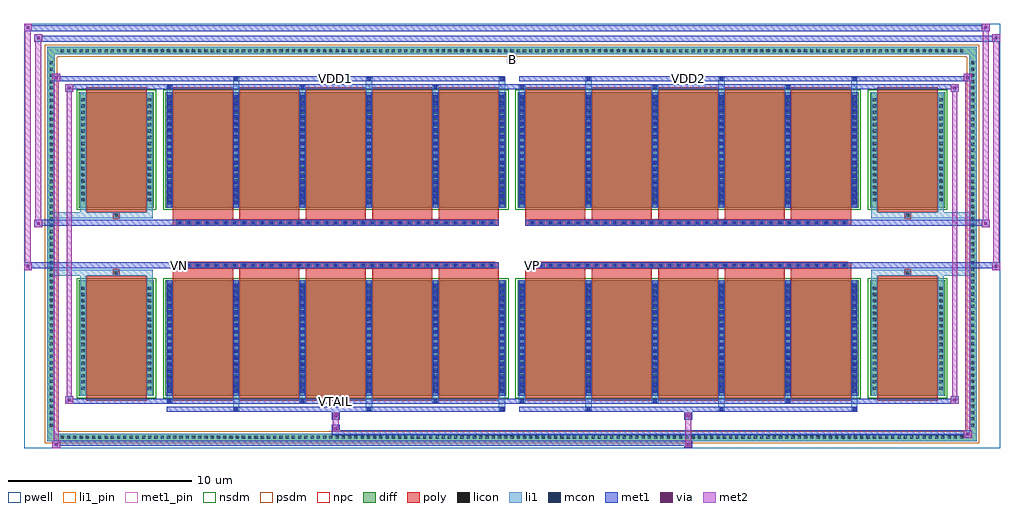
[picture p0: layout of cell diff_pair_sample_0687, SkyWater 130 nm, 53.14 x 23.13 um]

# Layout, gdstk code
import gdstk
lib = gdstk.Library(unit=1e-6, precision=5e-09)
def R(c, l, rs):  # rectangles x0, y0, x1, y1
    for r in rs: c.add(gdstk.rectangle(r[:2], r[2:], *l))
def A(c, l, x, y, w, h, nx, ny, dx, dy):  # array of equal rectangles
    R(c, l, [(x+i*dx, y+j*dy, x+i*dx+w, y+j*dy+h) for i in range(nx) for j in range(ny)])
def P(c, l, *ps):  # polygons
    for p in ps: c.add(gdstk.Polygon(p, *l))
pwell = (64, 44)
diff = (65, 20)
poly = (66, 20)
licon = (66, 44)
li1_pin = (67, 16)
li1 = (67, 20)
mcon = (67, 44)
met1_pin = (68, 16)
met1 = (68, 20)
via = (68, 44)
met2 = (69, 20)
nsdm = (93, 44)
psdm = (94, 20)
npc = (95, 20)

diff_pair_sample_0687 = lib.new_cell('diff_pair_sample_0687')
R(diff_pair_sample_0687, pwell, [(-26.57,-11.13,26.57,12), (-23.89,-9.32,-0.01,-0.8), (0.01,-9.32,23.89,-0.8), (-23.89,0.8,-0.01,9.32), (0.01,0.8,23.89,9.32)])
A(diff_pair_sample_0687, diff, -24.685, -10.73, 0.41, 0.41, 145, 2, 0.34, 21.05)
A(diff_pair_sample_0687, diff, -25.3, -10.065, 0.41, 0.41, 1, 59, 0, 0.34)
A(diff_pair_sample_0687, diff, 24.89, -10.065, 0.41, 0.41, 1, 59, 0, 0.34)
R(diff_pair_sample_0687, diff, [(-24.685,-10.73,24.685,-10.32), (-25.3,-10.065,-24.89,10.065), (24.89,-10.065,25.3,10.065), (-23.58,-8.275,-19.51,-1.985), (-18.87,-8.275,-0.32,-1.985), (0.32,-8.275,18.87,-1.985), (19.51,-8.275,23.58,-1.985), (-23.58,1.985,-19.51,8.275), (-18.87,1.985,-0.32,8.275), (0.32,1.985,18.87,8.275), (19.51,1.985,23.58,8.275), (-24.685,10.32,24.685,10.73)])
P(diff_pair_sample_0687, diff, [(25.3,10.73),(-25.3,10.73),(-25.3,-10.32),(-24.89,-10.32),(-24.89,10.32),(24.89,10.32),(24.89,-10.32),(-24.89,-10.32),(-25.3,-10.32),(-25.3,-10.73),(25.3,-10.73)])
A(diff_pair_sample_0687, poly, -18.48, -8.525, 3.29, 6.79, 5, 2, 3.62, 10.26)
A(diff_pair_sample_0687, poly, 0.71, -8.525, 3.29, 6.79, 5, 2, 3.62, 10.26)
A(diff_pair_sample_0687, poly, -18.48, -1.735, 3.29, 0.405, 5, 2, 3.62, 3.065)
A(diff_pair_sample_0687, poly, 0.71, -1.735, 3.29, 0.405, 5, 2, 3.62, 3.065)
A(diff_pair_sample_0687, poly, -18.26, -1.33, 0.33, 0.33, 35, 2, 0.5, 2.33)
A(diff_pair_sample_0687, poly, 0.93, -1.33, 0.33, 0.33, 35, 2, 0.5, 2.33)
R(diff_pair_sample_0687, poly, [(-23.19,-8.525,-19.9,-1.735), (19.9,-8.525,23.19,-1.735), (-21.71,-1.735,-21.38,-1.405), (-21.71,-1.735,-21.38,-1.405), (21.38,-1.735,21.71,-1.405), (21.38,-1.735,21.71,-1.405), (-18.48,-1.33,-0.71,-1), (0.71,-1.33,18.48,-1), (-18.48,1,-0.71,1.33), (0.71,1,18.48,1.33), (-21.71,1.405,-21.38,1.735), (-21.71,1.405,-21.38,1.735), (21.38,1.405,21.71,1.735), (21.38,1.405,21.71,1.735), (-23.19,1.735,-19.9,8.525), (19.9,1.735,23.19,8.525)])
A(diff_pair_sample_0687, licon, -24.565, -10.61, 0.17, 0.17, 145, 2, 0.34, 21.05)
A(diff_pair_sample_0687, licon, -25.18, -9.945, 0.17, 0.17, 1, 59, 0, 0.34)
A(diff_pair_sample_0687, licon, 25.01, -9.945, 0.17, 0.17, 1, 59, 0, 0.34)
A(diff_pair_sample_0687, licon, -23.44, -7.935, 0.17, 0.17, 1, 17, 0, 0.34)
A(diff_pair_sample_0687, licon, -19.82, -7.935, 0.17, 0.17, 1, 17, 0, 0.34)
A(diff_pair_sample_0687, licon, -18.73, -7.935, 0.17, 0.17, 6, 17, 3.62, 0.34)
A(diff_pair_sample_0687, licon, 0.46, -7.935, 0.17, 0.17, 6, 17, 3.62, 0.34)
A(diff_pair_sample_0687, licon, 19.65, -7.935, 0.17, 0.17, 1, 17, 0, 0.34)
A(diff_pair_sample_0687, licon, 23.27, -7.935, 0.17, 0.17, 1, 17, 0, 0.34)
A(diff_pair_sample_0687, licon, -18.18, -1.25, 0.17, 0.17, 35, 2, 0.5, 2.33)
A(diff_pair_sample_0687, licon, 1.01, -1.25, 0.17, 0.17, 35, 2, 0.5, 2.33)
A(diff_pair_sample_0687, licon, -23.44, 2.325, 0.17, 0.17, 1, 17, 0, 0.34)
A(diff_pair_sample_0687, licon, -19.82, 2.325, 0.17, 0.17, 1, 17, 0, 0.34)
A(diff_pair_sample_0687, licon, -18.73, 2.325, 0.17, 0.17, 6, 17, 3.62, 0.34)
A(diff_pair_sample_0687, licon, 0.46, 2.325, 0.17, 0.17, 6, 17, 3.62, 0.34)
A(diff_pair_sample_0687, licon, 19.65, 2.325, 0.17, 0.17, 1, 17, 0, 0.34)
A(diff_pair_sample_0687, licon, 23.27, 2.325, 0.17, 0.17, 1, 17, 0, 0.34)
R(diff_pair_sample_0687, licon, [(-21.63,-1.655,-21.46,-1.485), (21.46,-1.655,21.63,-1.485), (-21.63,1.485,-21.46,1.655), (21.46,1.485,21.63,1.655)])
R(diff_pair_sample_0687, li1_pin, [(-0.25,9.82,0.25,10.32)])
A(diff_pair_sample_0687, li1, -24.645, -10.69, 0.33, 0.33, 145, 2, 0.34, 21.05)
A(diff_pair_sample_0687, li1, -25.26, -10.025, 0.33, 0.33, 1, 59, 0, 0.34)
A(diff_pair_sample_0687, li1, 24.93, -10.025, 0.33, 0.33, 1, 59, 0, 0.34)
A(diff_pair_sample_0687, li1, -15.19, -9.08, 0.33, 0.805, 3, 2, 7.24, 17.355)
A(diff_pair_sample_0687, li1, -15.11, -9.08, 0.17, 0.17, 3, 2, 7.24, 17.99)
A(diff_pair_sample_0687, li1, 4, -9.08, 0.33, 0.805, 3, 2, 7.24, 17.355)
A(diff_pair_sample_0687, li1, 4.08, -9.08, 0.17, 0.17, 3, 2, 7.24, 17.99)
A(diff_pair_sample_0687, li1, -18.81, -8.65, 0.33, 0.375, 3, 2, 7.24, 16.925)
A(diff_pair_sample_0687, li1, -18.73, -8.65, 0.17, 0.17, 3, 2, 7.24, 17.13)
A(diff_pair_sample_0687, li1, 0.38, -8.65, 0.33, 0.375, 3, 2, 7.24, 16.925)
A(diff_pair_sample_0687, li1, 0.46, -8.65, 0.17, 0.17, 3, 2, 7.24, 17.13)
A(diff_pair_sample_0687, li1, -18.81, -8.275, 0.33, 6.29, 6, 2, 3.62, 10.26)
A(diff_pair_sample_0687, li1, 0.38, -8.275, 0.33, 6.29, 6, 2, 3.62, 10.26)
A(diff_pair_sample_0687, li1, -18.73, -8.095, 0.17, 0.17, 6, 17, 3.62, 0.36)
A(diff_pair_sample_0687, li1, -18.73, -8.095, 0.17, 5.93, 6, 2, 3.62, 10.26)
A(diff_pair_sample_0687, li1, 0.46, -8.095, 0.17, 0.17, 6, 17, 3.62, 0.36)
A(diff_pair_sample_0687, li1, 0.46, -8.095, 0.17, 5.93, 6, 2, 3.62, 10.26)
A(diff_pair_sample_0687, li1, -23.52, -8.015, 0.33, 0.33, 1, 17, 0, 0.34)
A(diff_pair_sample_0687, li1, -19.9, -8.015, 0.33, 0.33, 1, 17, 0, 0.34)
A(diff_pair_sample_0687, li1, -18.81, -8.015, 0.33, 0.33, 6, 17, 3.62, 0.34)
A(diff_pair_sample_0687, li1, 0.38, -8.015, 0.33, 0.33, 6, 17, 3.62, 0.34)
A(diff_pair_sample_0687, li1, 19.57, -8.015, 0.33, 0.33, 1, 17, 0, 0.34)
A(diff_pair_sample_0687, li1, 23.19, -8.015, 0.33, 0.33, 1, 17, 0, 0.34)
A(diff_pair_sample_0687, li1, -18.26, -1.33, 0.33, 0.33, 35, 2, 0.5, 2.33)
A(diff_pair_sample_0687, li1, 0.93, -1.33, 0.33, 0.33, 35, 2, 0.5, 2.33)
A(diff_pair_sample_0687, li1, -18.73, 2.165, 0.17, 0.17, 6, 17, 3.62, 0.36)
A(diff_pair_sample_0687, li1, 0.46, 2.165, 0.17, 0.17, 6, 17, 3.62, 0.36)
A(diff_pair_sample_0687, li1, -23.52, 2.245, 0.33, 0.33, 1, 17, 0, 0.34)
A(diff_pair_sample_0687, li1, -19.9, 2.245, 0.33, 0.33, 1, 17, 0, 0.34)
A(diff_pair_sample_0687, li1, -18.81, 2.245, 0.33, 0.33, 6, 17, 3.62, 0.34)
A(diff_pair_sample_0687, li1, 0.38, 2.245, 0.33, 0.33, 6, 17, 3.62, 0.34)
A(diff_pair_sample_0687, li1, 19.57, 2.245, 0.33, 0.33, 1, 17, 0, 0.34)
A(diff_pair_sample_0687, li1, 23.19, 2.245, 0.33, 0.33, 1, 17, 0, 0.34)
R(diff_pair_sample_0687, li1, [(-25.3,-10.73,-24.89,-10.32), (-25.3,-10.73,-24.89,-10.32), (-24.89,-10.73,24.89,-10.32), (24.89,-10.73,25.3,-10.32), (24.89,-10.73,25.3,-10.32), (-25.3,-10.32,-24.89,10.32), (24.89,-10.32,25.3,10.32), (-23.52,-8.275,-23.19,-1.985), (-19.9,-8.275,-19.57,-1.985), (19.57,-8.275,19.9,-1.985), (23.19,-8.275,23.52,-1.985), (-23.52,-1.985,-23.19,-1.405), (-19.9,-1.985,-19.57,-1.405), (19.57,-1.985,19.9,-1.405), (23.19,-1.985,23.52,-1.405), (-25.3,-1.735,-21.71,-1.405), (-23.52,-1.735,-21.71,-1.405), (-21.71,-1.735,-21.38,-1.405), (-21.38,-1.735,-19.57,-1.405), (19.57,-1.735,21.38,-1.405), (21.38,-1.735,21.71,-1.405), (21.38,-1.735,25.3,-1.405), (21.71,-1.735,23.52,-1.405), (-25.3,1.405,-21.71,1.735), (-23.52,1.405,-21.71,1.735), (-23.52,1.405,-23.19,1.985), (-21.71,1.405,-21.38,1.735), (-21.38,1.405,-19.57,1.735), (-19.9,1.405,-19.57,1.985), (19.57,1.405,21.38,1.735), (19.57,1.405,19.9,1.985), (21.38,1.405,21.71,1.735), (21.38,1.405,25.3,1.735), (21.71,1.405,23.52,1.735), (23.19,1.405,23.52,1.985), (-23.52,1.985,-23.19,8.275), (-19.9,1.985,-19.57,8.275), (19.57,1.985,19.9,8.275), (23.19,1.985,23.52,8.275), (-25.3,10.32,-24.89,10.73), (-25.3,10.32,-24.89,10.73), (-24.89,10.32,24.89,10.73), (24.89,10.32,25.3,10.73), (24.89,10.32,25.3,10.73)])
A(diff_pair_sample_0687, mcon, -15.11, -9.08, 0.17, 0.17, 3, 2, 7.24, 17.99)
A(diff_pair_sample_0687, mcon, 4.08, -9.08, 0.17, 0.17, 3, 2, 7.24, 17.99)
A(diff_pair_sample_0687, mcon, -18.73, -8.65, 0.17, 0.17, 3, 2, 7.24, 17.13)
A(diff_pair_sample_0687, mcon, 0.46, -8.65, 0.17, 0.17, 3, 2, 7.24, 17.13)
A(diff_pair_sample_0687, mcon, -18.73, -8.095, 0.17, 0.17, 6, 17, 3.62, 0.36)
A(diff_pair_sample_0687, mcon, 0.46, -8.095, 0.17, 0.17, 6, 17, 3.62, 0.36)
A(diff_pair_sample_0687, mcon, -18.18, -1.25, 0.17, 0.17, 35, 2, 0.5, 2.33)
A(diff_pair_sample_0687, mcon, 1.01, -1.25, 0.17, 0.17, 35, 2, 0.5, 2.33)
A(diff_pair_sample_0687, mcon, -18.73, 2.165, 0.17, 0.17, 6, 17, 3.62, 0.36)
A(diff_pair_sample_0687, mcon, 0.46, 2.165, 0.17, 0.17, 6, 17, 3.62, 0.36)
R(diff_pair_sample_0687, met1_pin, [(-9.73,-8.69,-9.46,-8.42), (-18.23,-1.29,-17.96,-1.02), (0.96,-1.29,1.23,-1.02), (-9.73,8.87,-9.46,9.14), (9.46,8.87,9.73,9.14)])
A(diff_pair_sample_0687, met1, -15.17, -9.14, 0.29, 0.29, 3, 2, 7.24, 17.99)
A(diff_pair_sample_0687, met1, 4.02, -9.14, 0.29, 0.29, 3, 2, 7.24, 17.99)
A(diff_pair_sample_0687, met1, -18.79, -8.71, 0.29, 0.29, 3, 2, 7.24, 17.13)
A(diff_pair_sample_0687, met1, 0.4, -8.71, 0.29, 0.29, 3, 2, 7.24, 17.13)
A(diff_pair_sample_0687, met1, -18.79, -8.275, 0.29, 6.29, 6, 2, 3.62, 10.26)
A(diff_pair_sample_0687, met1, 0.4, -8.275, 0.29, 6.29, 6, 2, 3.62, 10.26)
A(diff_pair_sample_0687, met1, -18.79, -8.155, 0.29, 0.29, 6, 17, 3.62, 0.36)
A(diff_pair_sample_0687, met1, 0.4, -8.155, 0.29, 0.29, 6, 17, 3.62, 0.36)
A(diff_pair_sample_0687, met1, -18.24, -1.31, 0.29, 0.29, 35, 2, 0.5, 2.33)
A(diff_pair_sample_0687, met1, 0.95, -1.31, 0.29, 0.29, 35, 2, 0.5, 2.33)
A(diff_pair_sample_0687, met1, -18.79, 2.105, 0.29, 0.29, 6, 17, 3.62, 0.36)
A(diff_pair_sample_0687, met1, 0.4, 2.105, 0.29, 0.29, 6, 17, 3.62, 0.36)
R(diff_pair_sample_0687, met1, [(-25.03,-11.13,-24.6,-10.7), (9.38,-11.13,9.81,-10.7), (-25.03,-10.99,9.81,-10.7), (24.6,-10.56,25.03,-10.13), (-9.81,-10.42,25.03,-10.13), (-9.81,-10.28,-9.38,-9.85), (-9.81,-9.57,-9.38,-9.14), (9.38,-9.57,9.81,-9.14), (-18.79,-9.14,-0.4,-8.85), (0.4,-9.14,18.79,-8.85), (-24.32,-8.71,-23.89,-8.28), (-24.32,-8.71,-18.79,-8.42), (-18.79,-8.71,-0.4,-8.42), (-0.4,-8.71,0.4,-8.42), (0.4,-8.71,18.79,-8.42), (18.79,-8.71,24.32,-8.42), (23.89,-8.71,24.32,-8.28), (-26.57,-1.43,-26.14,-1), (26.14,-1.43,26.57,-1), (-26.57,-1.33,-0.71,-1), (-18.48,-1.33,-0.71,-1), (0.71,-1.33,18.48,-1), (0.71,-1.33,26.57,-1), (-26,0.9,-25.57,1.33), (25.57,0.9,26,1.33), (-26,1,-18.48,1.33), (-18.48,1,-0.71,1.33), (0.71,1,18.48,1.33), (18.48,1,26,1.33), (-24.32,8.28,-23.89,8.71), (23.89,8.28,24.32,8.71), (-24.32,8.42,-18.79,8.71), (-18.79,8.42,-0.4,8.71), (-0.4,8.42,0.4,8.71), (0.4,8.42,18.79,8.71), (18.79,8.42,24.32,8.71), (-25.03,8.85,-24.6,9.28), (-25.03,8.85,-18.79,9.14), (-18.79,8.85,-0.4,9.14), (0.4,8.85,18.79,9.14), (18.79,8.85,25.03,9.14), (24.6,8.85,25.03,9.28), (-26,11,-25.57,11.43), (-26,11,-23.89,11.33), (-23.89,11,23.89,11.33), (23.89,11,26.57,11.33), (26.14,11,26.57,11.43), (-26.57,11.57,-26.14,12), (-26.57,11.57,-23.89,11.9), (-23.89,11.57,23.89,11.9), (23.89,11.57,26,11.9), (25.57,11.57,26,12)])
R(diff_pair_sample_0687, via, [(-24.89,-10.99,-24.74,-10.84), (9.52,-10.99,9.67,-10.84), (24.74,-10.42,24.89,-10.27), (-9.67,-10.14,-9.52,-9.99), (-9.67,-9.43,-9.52,-9.28), (9.52,-9.43,9.67,-9.28), (-24.18,-8.57,-24.03,-8.42), (24.03,-8.57,24.18,-8.42), (-26.43,-1.29,-26.28,-1.14), (26.28,-1.29,26.43,-1.14), (-25.86,1.04,-25.71,1.19), (25.71,1.04,25.86,1.19), (-24.18,8.42,-24.03,8.57), (24.03,8.42,24.18,8.57), (-24.89,8.99,-24.74,9.14), (24.74,8.99,24.89,9.14), (-25.86,11.14,-25.71,11.29), (26.28,11.14,26.43,11.29), (-26.43,11.71,-26.28,11.86), (25.71,11.71,25.86,11.86)])
R(diff_pair_sample_0687, met2, [(-25.03,-11.13,-24.6,-10.7), (-24.96,-11.13,-24.67,9.28), (-24.67,-11.13,-24.6,-10.7), (-24.98,-11.08,-24.65,-10.75), (9.43,-11.08,9.76,-10.75), (9.43,-10.75,9.76,-9.52), (24.6,-10.56,25.03,-10.13), (24.67,-10.56,24.96,9.28), (24.96,-10.56,25.03,-10.13), (24.65,-10.51,24.98,-10.18), (-9.76,-10.23,-9.43,-9.9), (-9.76,-9.9,-9.43,-9.52), (-9.76,-9.52,-9.43,-9.19), (9.43,-9.52,9.76,-9.19), (-24.32,-8.71,-23.89,-8.28), (-24.25,-8.71,-23.96,8.71), (-23.96,-8.71,-23.89,-8.28), (23.89,-8.71,24.32,-8.28), (23.96,-8.71,24.25,8.71), (24.25,-8.71,24.32,-8.28), (-24.27,-8.66,-23.94,-8.33), (23.94,-8.66,24.27,-8.33), (-26.57,-1.43,-26.14,-1), (-26.52,-1.43,-26.19,12), (-26.19,-1.43,-26.14,-1), (26.14,-1.43,26.57,-1), (26.19,-1.43,26.52,11.43), (26.52,-1.43,26.57,-1), (-26.52,-1.38,-26.19,-1.05), (26.19,-1.38,26.52,-1.05), (-26,0.9,-25.57,1.33), (-25.95,0.9,-25.62,11.43), (-25.62,0.9,-25.57,1.33), (25.57,0.9,26,1.33), (25.62,0.9,25.95,12), (25.95,0.9,26,1.33), (-25.95,0.95,-25.62,1.28), (25.62,0.95,25.95,1.28), (-24.32,8.28,-23.89,8.71), (-23.96,8.28,-23.89,8.71), (23.89,8.28,24.32,8.71), (24.25,8.28,24.32,8.71), (-24.27,8.33,-23.94,8.66), (23.94,8.33,24.27,8.66), (-25.03,8.85,-24.6,9.28), (-24.67,8.85,-24.6,9.28), (24.6,8.85,25.03,9.28), (24.96,8.85,25.03,9.28), (-24.98,8.9,-24.65,9.23), (24.65,8.9,24.98,9.23), (-26,11,-25.57,11.43), (-25.62,11,-25.57,11.43), (26.14,11,26.57,11.43), (26.52,11,26.57,11.43), (-25.95,11.05,-25.62,11.38), (26.19,11.05,26.52,11.38), (-26.57,11.57,-26.14,12), (-26.19,11.57,-26.14,12), (25.57,11.57,26,12), (25.95,11.57,26,12), (-26.52,11.62,-26.19,11.95), (25.62,11.62,25.95,11.95)])
R(diff_pair_sample_0687, nsdm, [(-23.71,-8.405,-19.38,-1.855), (-19,-8.405,-0.19,-1.855), (0.19,-8.405,19,-1.855), (19.38,-8.405,23.71,-1.855), (-23.71,1.855,-19.38,8.405), (-19,1.855,-0.19,8.405), (0.19,1.855,19,8.405), (19.38,1.855,23.71,8.405)])
P(diff_pair_sample_0687, psdm, [(25.43,10.86),(-25.43,10.86),(-25.43,-10.19),(-24.76,-10.19),(-24.76,10.19),(24.76,10.19),(24.76,-10.19),(-24.76,-10.19),(-25.43,-10.19),(-25.43,-10.86),(25.43,-10.86)])
A(diff_pair_sample_0687, npc, -18.28, -1.35, 0.37, 0.37, 35, 2, 0.5, 2.33)
A(diff_pair_sample_0687, npc, 0.91, -1.35, 0.37, 0.37, 35, 2, 0.5, 2.33)
R(diff_pair_sample_0687, npc, [(-21.73,-1.755,-21.36,-1.385), (21.36,-1.755,21.73,-1.385), (-18.28,-1.35,-17.41,-0.98), (-18.28,-1.35,-17.41,-0.98), (-17.78,-1.35,-16.91,-0.98), (-17.78,-1.35,-16.91,-0.98), (-17.28,-1.35,-16.41,-0.98), (-17.28,-1.35,-16.41,-0.98), (-16.78,-1.35,-15.91,-0.98), (-16.78,-1.35,-15.91,-0.98), (-16.28,-1.35,-15.41,-0.98), (-16.28,-1.35,-15.41,-0.98), (-15.78,-1.35,-14.91,-0.98), (-15.78,-1.35,-14.91,-0.98), (-15.28,-1.35,-14.41,-0.98), (-15.28,-1.35,-14.41,-0.98), (-14.78,-1.35,-13.91,-0.98), (-14.78,-1.35,-13.91,-0.98), (-14.28,-1.35,-13.41,-0.98), (-14.28,-1.35,-13.41,-0.98), (-13.78,-1.35,-12.91,-0.98), (-13.78,-1.35,-12.91,-0.98), (-13.28,-1.35,-12.41,-0.98), (-13.28,-1.35,-12.41,-0.98), (-12.78,-1.35,-11.91,-0.98), (-12.78,-1.35,-11.91,-0.98), (-12.28,-1.35,-11.41,-0.98), (-12.28,-1.35,-11.41,-0.98), (-11.78,-1.35,-10.91,-0.98), (-11.78,-1.35,-10.91,-0.98), (-11.28,-1.35,-10.41,-0.98), (-11.28,-1.35,-10.41,-0.98), (-10.78,-1.35,-9.91,-0.98), (-10.78,-1.35,-9.91,-0.98), (-10.28,-1.35,-9.41,-0.98), (-10.28,-1.35,-9.41,-0.98), (-9.78,-1.35,-8.91,-0.98), (-9.78,-1.35,-8.91,-0.98), (-9.28,-1.35,-8.41,-0.98), (-9.28,-1.35,-8.41,-0.98), (-8.78,-1.35,-7.91,-0.98), (-8.78,-1.35,-7.91,-0.98), (-8.28,-1.35,-7.41,-0.98), (-8.28,-1.35,-7.41,-0.98), (-7.78,-1.35,-6.91,-0.98), (-7.78,-1.35,-6.91,-0.98), (-7.28,-1.35,-6.41,-0.98), (-7.28,-1.35,-6.41,-0.98), (-6.78,-1.35,-5.91,-0.98), (-6.78,-1.35,-5.91,-0.98), (-6.28,-1.35,-5.41,-0.98), (-6.28,-1.35,-5.41,-0.98), (-5.78,-1.35,-4.91,-0.98), (-5.78,-1.35,-4.91,-0.98), (-5.28,-1.35,-4.41,-0.98), (-5.28,-1.35,-4.41,-0.98), (-4.78,-1.35,-3.91,-0.98), (-4.78,-1.35,-3.91,-0.98), (-4.28,-1.35,-3.41,-0.98), (-4.28,-1.35,-3.41,-0.98), (-3.78,-1.35,-2.91,-0.98), (-3.78,-1.35,-2.91,-0.98), (-3.28,-1.35,-2.41,-0.98), (-3.28,-1.35,-2.41,-0.98), (-2.78,-1.35,-1.91,-0.98), (-2.78,-1.35,-1.91,-0.98), (-2.28,-1.35,-1.41,-0.98), (-2.28,-1.35,-1.41,-0.98), (-1.78,-1.35,-0.91,-0.98), (-1.78,-1.35,-0.91,-0.98), (0.91,-1.35,1.78,-0.98), (0.91,-1.35,1.78,-0.98), (1.41,-1.35,2.28,-0.98), (1.41,-1.35,2.28,-0.98), (1.91,-1.35,2.78,-0.98), (1.91,-1.35,2.78,-0.98), (2.41,-1.35,3.28,-0.98), (2.41,-1.35,3.28,-0.98), (2.91,-1.35,3.78,-0.98), (2.91,-1.35,3.78,-0.98), (3.41,-1.35,4.28,-0.98), (3.41,-1.35,4.28,-0.98), (3.91,-1.35,4.78,-0.98), (3.91,-1.35,4.78,-0.98), (4.41,-1.35,5.28,-0.98), (4.41,-1.35,5.28,-0.98), (4.91,-1.35,5.78,-0.98), (4.91,-1.35,5.78,-0.98), (5.41,-1.35,6.28,-0.98), (5.41,-1.35,6.28,-0.98), (5.91,-1.35,6.78,-0.98), (5.91,-1.35,6.78,-0.98), (6.41,-1.35,7.28,-0.98), (6.41,-1.35,7.28,-0.98), (6.91,-1.35,7.78,-0.98), (6.91,-1.35,7.78,-0.98), (7.41,-1.35,8.28,-0.98), (7.41,-1.35,8.28,-0.98), (7.91,-1.35,8.78,-0.98), (7.91,-1.35,8.78,-0.98), (8.41,-1.35,9.28,-0.98), (8.41,-1.35,9.28,-0.98), (8.91,-1.35,9.78,-0.98), (8.91,-1.35,9.78,-0.98), (9.41,-1.35,10.28,-0.98), (9.41,-1.35,10.28,-0.98), (9.91,-1.35,10.78,-0.98), (9.91,-1.35,10.78,-0.98), (10.41,-1.35,11.28,-0.98), (10.41,-1.35,11.28,-0.98), (10.91,-1.35,11.78,-0.98), (10.91,-1.35,11.78,-0.98), (11.41,-1.35,12.28,-0.98), (11.41,-1.35,12.28,-0.98), (11.91,-1.35,12.78,-0.98), (11.91,-1.35,12.78,-0.98), (12.41,-1.35,13.28,-0.98), (12.41,-1.35,13.28,-0.98), (12.91,-1.35,13.78,-0.98), (12.91,-1.35,13.78,-0.98), (13.41,-1.35,14.28,-0.98), (13.41,-1.35,14.28,-0.98), (13.91,-1.35,14.78,-0.98), (13.91,-1.35,14.78,-0.98), (14.41,-1.35,15.28,-0.98), (14.41,-1.35,15.28,-0.98), (14.91,-1.35,15.78,-0.98), (14.91,-1.35,15.78,-0.98), (15.41,-1.35,16.28,-0.98), (15.41,-1.35,16.28,-0.98), (15.91,-1.35,16.78,-0.98), (15.91,-1.35,16.78,-0.98), (16.41,-1.35,17.28,-0.98), (16.41,-1.35,17.28,-0.98), (16.91,-1.35,17.78,-0.98), (16.91,-1.35,17.78,-0.98), (17.41,-1.35,18.28,-0.98), (17.41,-1.35,18.28,-0.98), (-18.28,0.98,-17.41,1.35), (-18.28,0.98,-17.41,1.35), (-17.78,0.98,-16.91,1.35), (-17.78,0.98,-16.91,1.35), (-17.28,0.98,-16.41,1.35), (-17.28,0.98,-16.41,1.35), (-16.78,0.98,-15.91,1.35), (-16.78,0.98,-15.91,1.35), (-16.28,0.98,-15.41,1.35), (-16.28,0.98,-15.41,1.35), (-15.78,0.98,-14.91,1.35), (-15.78,0.98,-14.91,1.35), (-15.28,0.98,-14.41,1.35), (-15.28,0.98,-14.41,1.35), (-14.78,0.98,-13.91,1.35), (-14.78,0.98,-13.91,1.35), (-14.28,0.98,-13.41,1.35), (-14.28,0.98,-13.41,1.35), (-13.78,0.98,-12.91,1.35), (-13.78,0.98,-12.91,1.35), (-13.28,0.98,-12.41,1.35), (-13.28,0.98,-12.41,1.35), (-12.78,0.98,-11.91,1.35), (-12.78,0.98,-11.91,1.35), (-12.28,0.98,-11.41,1.35), (-12.28,0.98,-11.41,1.35), (-11.78,0.98,-10.91,1.35), (-11.78,0.98,-10.91,1.35), (-11.28,0.98,-10.41,1.35), (-11.28,0.98,-10.41,1.35), (-10.78,0.98,-9.91,1.35), (-10.78,0.98,-9.91,1.35), (-10.28,0.98,-9.41,1.35), (-10.28,0.98,-9.41,1.35), (-9.78,0.98,-8.91,1.35), (-9.78,0.98,-8.91,1.35), (-9.28,0.98,-8.41,1.35), (-9.28,0.98,-8.41,1.35), (-8.78,0.98,-7.91,1.35), (-8.78,0.98,-7.91,1.35), (-8.28,0.98,-7.41,1.35), (-8.28,0.98,-7.41,1.35), (-7.78,0.98,-6.91,1.35), (-7.78,0.98,-6.91,1.35), (-7.28,0.98,-6.41,1.35), (-7.28,0.98,-6.41,1.35), (-6.78,0.98,-5.91,1.35), (-6.78,0.98,-5.91,1.35), (-6.28,0.98,-5.41,1.35), (-6.28,0.98,-5.41,1.35), (-5.78,0.98,-4.91,1.35), (-5.78,0.98,-4.91,1.35), (-5.28,0.98,-4.41,1.35), (-5.28,0.98,-4.41,1.35), (-4.78,0.98,-3.91,1.35), (-4.78,0.98,-3.91,1.35), (-4.28,0.98,-3.41,1.35), (-4.28,0.98,-3.41,1.35), (-3.78,0.98,-2.91,1.35), (-3.78,0.98,-2.91,1.35), (-3.28,0.98,-2.41,1.35), (-3.28,0.98,-2.41,1.35), (-2.78,0.98,-1.91,1.35), (-2.78,0.98,-1.91,1.35), (-2.28,0.98,-1.41,1.35), (-2.28,0.98,-1.41,1.35), (-1.78,0.98,-0.91,1.35), (-1.78,0.98,-0.91,1.35), (0.91,0.98,1.78,1.35), (0.91,0.98,1.78,1.35), (1.41,0.98,2.28,1.35), (1.41,0.98,2.28,1.35), (1.91,0.98,2.78,1.35), (1.91,0.98,2.78,1.35), (2.41,0.98,3.28,1.35), (2.41,0.98,3.28,1.35), (2.91,0.98,3.78,1.35), (2.91,0.98,3.78,1.35), (3.41,0.98,4.28,1.35), (3.41,0.98,4.28,1.35), (3.91,0.98,4.78,1.35), (3.91,0.98,4.78,1.35), (4.41,0.98,5.28,1.35), (4.41,0.98,5.28,1.35), (4.91,0.98,5.78,1.35), (4.91,0.98,5.78,1.35), (5.41,0.98,6.28,1.35), (5.41,0.98,6.28,1.35), (5.91,0.98,6.78,1.35), (5.91,0.98,6.78,1.35), (6.41,0.98,7.28,1.35), (6.41,0.98,7.28,1.35), (6.91,0.98,7.78,1.35), (6.91,0.98,7.78,1.35), (7.41,0.98,8.28,1.35), (7.41,0.98,8.28,1.35), (7.91,0.98,8.78,1.35), (7.91,0.98,8.78,1.35), (8.41,0.98,9.28,1.35), (8.41,0.98,9.28,1.35), (8.91,0.98,9.78,1.35), (8.91,0.98,9.78,1.35), (9.41,0.98,10.28,1.35), (9.41,0.98,10.28,1.35), (9.91,0.98,10.78,1.35), (9.91,0.98,10.78,1.35), (10.41,0.98,11.28,1.35), (10.41,0.98,11.28,1.35), (10.91,0.98,11.78,1.35), (10.91,0.98,11.78,1.35), (11.41,0.98,12.28,1.35), (11.41,0.98,12.28,1.35), (11.91,0.98,12.78,1.35), (11.91,0.98,12.78,1.35), (12.41,0.98,13.28,1.35), (12.41,0.98,13.28,1.35), (12.91,0.98,13.78,1.35), (12.91,0.98,13.78,1.35), (13.41,0.98,14.28,1.35), (13.41,0.98,14.28,1.35), (13.91,0.98,14.78,1.35), (13.91,0.98,14.78,1.35), (14.41,0.98,15.28,1.35), (14.41,0.98,15.28,1.35), (14.91,0.98,15.78,1.35), (14.91,0.98,15.78,1.35), (15.41,0.98,16.28,1.35), (15.41,0.98,16.28,1.35), (15.91,0.98,16.78,1.35), (15.91,0.98,16.78,1.35), (16.41,0.98,17.28,1.35), (16.41,0.98,17.28,1.35), (16.91,0.98,17.78,1.35), (16.91,0.98,17.78,1.35), (17.41,0.98,18.28,1.35), (17.41,0.98,18.28,1.35), (-21.73,1.385,-21.36,1.755), (21.36,1.385,21.73,1.755)])
diff_pair_sample_0687.add(gdstk.Label('VTAIL', (-9.595,-8.555), layer=68, texttype=5))
diff_pair_sample_0687.add(gdstk.Label('VN', (-18.095,-1.155), layer=68, texttype=5))
diff_pair_sample_0687.add(gdstk.Label('VP', (1.095,-1.155), layer=68, texttype=5))
diff_pair_sample_0687.add(gdstk.Label('B', (0,10.07), layer=67, texttype=5))
diff_pair_sample_0687.add(gdstk.Label('VDD2', (9.595,9.005), layer=68, texttype=5))
diff_pair_sample_0687.add(gdstk.Label('VDD1', (-9.595,9.005), layer=68, texttype=5))

lib.write_gds('diff_pair_sample_0687.gds')
